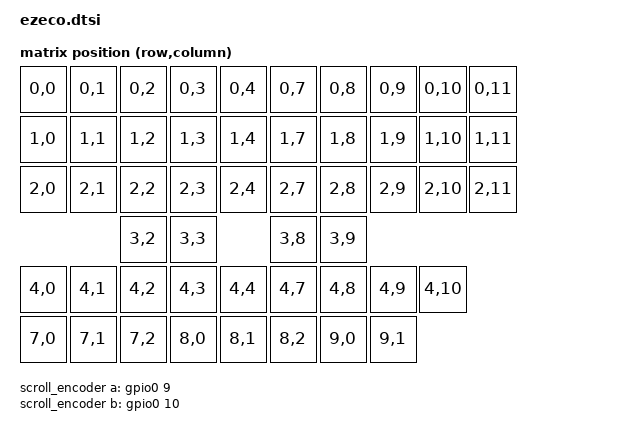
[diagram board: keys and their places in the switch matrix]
/*
 * Shared by every ezeco device. The dongle owns the keymap, so the transform and
 * the split/sensor nodes must exist identically on all four builds.
 */

#include <dt-bindings/zmk/matrix_transform.h>

/ {
    chosen {
        zmk,matrix-transform = &default_transform;
    };

    /*
     * Matrix: rows 0-6 x cols 0-6 per half (Lemon wireless: 7 GPIO rows, 7 shift-register
     * columns), right half shifted by col-offset 7, mouse in rows 7-9 (row-offset 7).
     *
     * PROVISIONAL: the per-key RC() values for the halves depend on how the Pumpkin PCBs are
     * chained, which Cosmos computes from the model. Replace the first 43 entries with the
     * `default_transform` map from the Cosmos ZMK export of the final model, keeping the key
     * order documented in config/ezeco.keymap.
     */
    default_transform: keymap_transform_0 {
        compatible = "zmk,matrix-transform";
        rows = <10>;
        columns = <14>;
        map = <
// Fingers: left pinky..inner, right inner..pinky
RC(0,0) RC(0,1) RC(0,2) RC(0,3) RC(0,4)    RC(0,7) RC(0,8) RC(0,9) RC(0,10) RC(0,11)
RC(1,0) RC(1,1) RC(1,2) RC(1,3) RC(1,4)    RC(1,7) RC(1,8) RC(1,9) RC(1,10) RC(1,11)
RC(2,0) RC(2,1) RC(2,2) RC(2,3) RC(2,4)    RC(2,7) RC(2,8) RC(2,9) RC(2,10) RC(2,11)
// Extra bottom keys (middle, index columns)
                RC(3,2) RC(3,3)            RC(3,8) RC(3,9)
// Thumbs: left 5, right 4
RC(4,0) RC(4,1) RC(4,2) RC(4,3) RC(4,4)    RC(4,7) RC(4,8) RC(4,9) RC(4,10)
// Mouse: left, right, middle, back, forward, DPI, tilt left, tilt right
RC(7,0) RC(7,1) RC(7,2) RC(8,0) RC(8,1) RC(8,2) RC(9,0) RC(9,1)
        >;
    };

    /*
     * Pointing devices on peripherals, forwarded to the dongle. Disabled here: each
     * peripheral enables only its own split (with `device`), the dongle enables both.
     */
    split_inputs {
        #address-cells = <1>;
        #size-cells = <0>;

        trackball_split: trackball_split@0 {
            compatible = "zmk,input-split";
            reg = <0>;
            status = "disabled";
        };

        mouse_split: mouse_split@1 {
            compatible = "zmk,input-split";
            reg = <1>;
            status = "disabled";
        };
    };

    /* Mouse scroll wheel. Enabled only in ezeco_mouse.overlay. */
    scroll_encoder: scroll_encoder {
        compatible = "alps,ec11";
        a-gpios = <&gpio0 9 (GPIO_ACTIVE_HIGH | GPIO_PULL_UP)>;
        b-gpios = <&gpio0 10 (GPIO_ACTIVE_HIGH | GPIO_PULL_UP)>;
        steps = <96>;
        status = "disabled";
    };

    sensors: sensors {
        compatible = "zmk,keymap-sensors";
        sensors = <&scroll_encoder>;
        triggers-per-rotation = <24>;
    };
};
